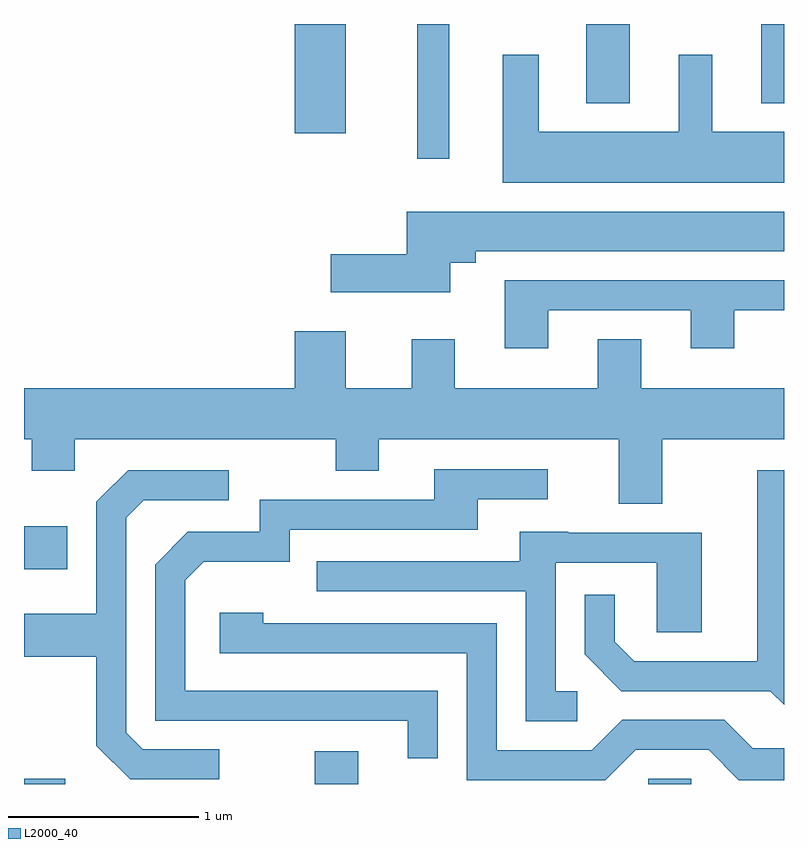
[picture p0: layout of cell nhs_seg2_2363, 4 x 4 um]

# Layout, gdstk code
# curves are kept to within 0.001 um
import gdstk
lib = gdstk.Library(unit=1e-6, precision=1e-09)
def R(c, l, rs):  # rectangles x0, y0, x1, y1
    for r in rs: c.add(gdstk.rectangle(r[:2], r[2:], *l))
def P(c, l, *ps):  # polygons
    for p in ps: c.add(gdstk.Polygon(p, *l))
L2000_40 = (2000, 40)

nhs_seg2_2363 = lib.new_cell('nhs_seg2_2363')
R(nhs_seg2_2363, L2000_40, [(253.611,1079.802,253.829,1079.829), (255.141,1079.802,255.369,1079.974), (256.896,1079.802,257.124,1079.829), (253.611,1080.931,253.839,1081.159), (255.681,1083.093,255.849,1083.802), (255.036,1083.226,255.304,1083.802), (256.571,1083.386,256.799,1083.802), (257.491,1083.386,257.611,1083.802)])
P(nhs_seg2_2363, L2000_40, [(257.611,1083.234),(257.234,1083.234),(257.234,1083.639),(257.056,1083.639),(257.056,1083.234),(256.319,1083.234),(256.319,1083.639),(256.131,1083.639),(256.131,1082.966),(257.611,1082.966)],
  [(255.854,1082.546),(255.989,1082.546),(255.989,1082.606),(257.611,1082.606),(257.611,1082.814),(255.626,1082.814),(255.626,1082.589),(255.226,1082.589),(255.226,1082.391),(255.854,1082.391)],
  [(256.369,1082.296),(257.121,1082.296),(257.121,1082.096),(257.349,1082.096),(257.349,1082.296),(257.611,1082.296),(257.611,1082.454),(256.141,1082.454),(256.141,1082.096),(256.369,1082.096)],
  [(256.969,1081.616),(257.611,1081.616),(257.611,1081.884),(256.859,1081.884),(256.859,1082.144),(256.631,1082.144),(256.631,1081.884),(255.879,1081.884),(255.879,1082.144),(255.651,1082.144),(255.651,1081.884),(255.304,1081.884),(255.304,1082.184),(255.036,1082.184),(255.036,1081.884),(253.611,1081.884),(253.611,1081.616),(253.651,1081.616),(253.651,1081.451),(253.879,1081.451),(253.879,1081.616),(255.251,1081.616),(255.251,1081.451),(255.479,1081.451),(255.479,1081.616),(256.741,1081.616),(256.741,1081.276),(256.969,1081.276)],
  [(255.789,1080.294),(254.459,1080.294),(254.459,1080.874),(254.557,1080.971),(255.009,1080.971),(255.009,1081.141),(255.999,1081.141),(255.999,1081.301),(256.368,1081.301),(256.368,1081.459),(255.771,1081.459),(255.771,1081.299),(254.851,1081.299),(254.851,1081.129),(254.474,1081.129),(254.301,1080.957),(254.301,1080.136),(255.631,1080.136),(255.631,1079.938),(255.789,1079.938)],
  [(254.638,1079.984),(254.237,1079.984),(254.149,1080.072),(254.149,1081.204),(254.242,1081.296),(254.688,1081.296),(254.688,1081.454),(254.159,1081.454),(253.991,1081.287),(253.991,1080.699),(253.611,1080.699),(253.611,1080.471),(253.991,1080.471),(253.991,1080.004),(254.169,1079.826),(254.638,1079.826)],
  [(257.611,1081.454),(257.471,1081.454),(257.471,1080.449),(256.822,1080.449),(256.719,1080.552),(256.719,1080.798),(256.561,1080.798),(256.561,1080.484),(256.754,1080.291),(257.539,1080.291),(257.611,1080.218)],
  [(256.522,1080.289),(256.409,1080.289),(256.409,1080.966),(256.941,1080.966),(256.941,1080.601),(257.179,1080.601),(257.179,1081.124),(256.475,1081.124),(256.475,1081.129),(256.221,1081.129),(256.221,1080.974),(255.153,1080.974),(255.153,1080.816),(256.251,1080.816),(256.251,1080.131),(256.522,1080.131)],
  [(256.832,1079.981),(257.214,1079.981),(257.373,1079.821),(257.611,1079.821),(257.611,1079.989),(257.447,1079.989),(257.296,1080.139),(256.759,1080.139),(256.599,1079.979),(256.099,1079.979),(256.099,1080.649),(254.869,1080.649),(254.869,1080.704),(254.641,1080.704),(254.641,1080.491),(255.941,1080.491),(255.941,1079.821),(256.671,1079.821)])

lib.write_gds('nhs_seg2_2363.gds')
